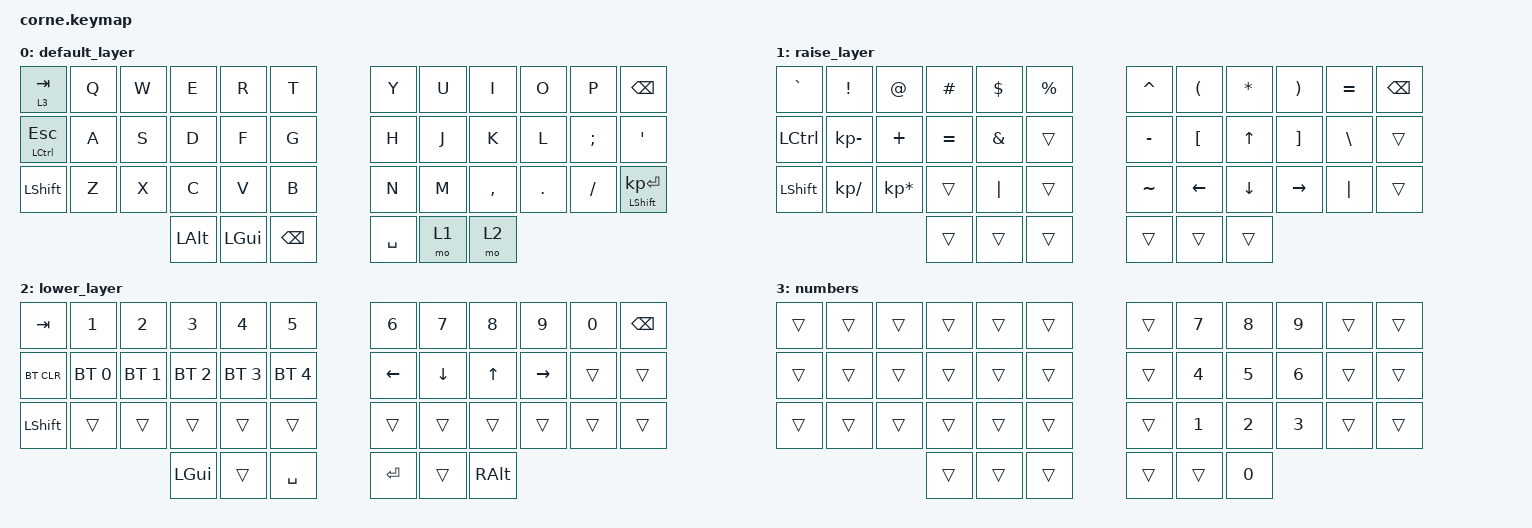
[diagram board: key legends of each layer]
/*
 * Copyright (c) 2020 The ZMK Contributors
 *
 * SPDX-License-Identifier: MIT
 */

#include <behaviors.dtsi>
#include <dt-bindings/zmk/bt.h>
#include <dt-bindings/zmk/keys.h>

/ {
    keymap {
        compatible = "zmk,keymap";

        default_layer {
            // -----------------------------------------------------------------------------------------
            // |  TAB |  Q  |  W  |  E  |  R  |  T  |   |  Y  |  U   |  I  |  O  |  P  | BSPC |
            // | CTRL |  A  |  S  |  D  |  F  |  G  |   |  H  |  J   |  K  |  L  |  ;  |  '   |
            // | SHFT |  Z  |  X  |  C  |  V  |  B  |   |  N  |  M   |  ,  |  .  |  /  | ESC  |
            //                    | GUI | LWR | SPC |   | ENT | RSE  | ALT |

            bindings = <
&lt 3 TAB      &kp Q  &kp W  &kp E         &kp R         &kp T            &kp Y      &kp U  &kp I      &kp O    &kp P     &kp BSPC
&mt LCTRL ESC  &kp A  &kp S  &kp D         &kp F         &kp G            &kp H      &kp J  &kp K      &kp L    &kp SEMI  &kp SQT
&kp LSHFT      &kp Z  &kp X  &kp C         &kp V         &kp B            &kp N      &kp M  &kp COMMA  &kp DOT  &kp FSLH  &mt LEFT_SHIFT KP_ENTER
                             &kp LEFT_ALT  &kp LEFT_GUI  &kp BACKSPACE    &kp SPACE  &mo 1  &mo 2
            >;
        };

        raise_layer {
            // -----------------------------------------------------------------------------------------
            // |  TAB |  !  |  @  |  #  |  $  |  %  |   |  ^  |  &  |  *  |  (  |  )  | BSPC |
            // | CTRL |     |     |     |     |     |   |  -  |  =  |  [  |  ]  |  \  |  `   |
            // | SHFT |     |     |     |     |     |   |  _  |  +  |  {  |  }  | "|" |  ~   |
            //                    | GUI |     | SPC |   | ENT |     | ALT |

            bindings = <
&kp GRAVE  &kp EXCL       &kp AT           &kp HASH   &kp DLLR       &kp PRCNT    &kp CARET  &kp LEFT_PARENTHESIS  &kp ASTRK       &kp RIGHT_PARENTHESIS  &kp EQUAL  &kp BSPC
&kp LCTRL  &kp KP_MINUS   &kp PLUS         &kp EQUAL  &kp AMPERSAND  &trans       &kp MINUS  &kp LEFT_BRACKET      &kp UP_ARROW    &kp RIGHT_BRACKET      &kp BSLH   &trans
&kp LSHFT  &kp KP_DIVIDE  &kp KP_MULTIPLY  &trans     &kp PIPE       &trans       &kp TILDE  &kp LEFT_ARROW        &kp DOWN_ARROW  &kp RIGHT_ARROW        &kp PIPE   &trans
                                           &trans     &trans         &trans       &trans     &trans                &trans
            >;
        };

        lower_layer {
            // -----------------------------------------------------------------------------------------
            // |  TAB |  1  |  2  |  3  |  4  |  5  |   |  6  |  7  |  8  |  9  |  0  | BSPC |
            // | BTCLR| BT1 | BT2 | BT3 | BT4 | BT5 |   | LFT | DWN |  UP | RGT |     |      |
            // | SHFT |     |     |     |     |     |   |     |     |     |     |     |      |
            //                    | GUI |     | SPC |   | ENT |     | ALT |

            bindings = <
&kp TAB     &kp N1        &kp N2        &kp N3        &kp N4        &kp N5          &kp N6    &kp N7    &kp N8    &kp N9     &kp N0  &kp BSPC
&bt BT_CLR  &bt BT_SEL 0  &bt BT_SEL 1  &bt BT_SEL 2  &bt BT_SEL 3  &bt BT_SEL 4    &kp LEFT  &kp DOWN  &kp UP    &kp RIGHT  &trans  &trans
&kp LSHFT   &trans        &trans        &trans        &trans        &trans          &trans    &trans    &trans    &trans     &trans  &trans
                                        &kp LGUI      &trans        &kp SPACE       &kp RET   &trans    &kp RALT
            >;
        };

        numbers {
            bindings = <
&trans  &trans  &trans  &trans  &trans  &trans    &trans  &kp N7        &kp N8        &kp N9        &trans  &trans
&trans  &trans  &trans  &trans  &trans  &trans    &trans  &kp NUMBER_4  &kp N5        &kp NUMBER_6  &trans  &trans
&trans  &trans  &trans  &trans  &trans  &trans    &trans  &kp NUMBER_1  &kp NUMBER_2  &kp N3        &trans  &trans
                        &trans  &trans  &trans    &trans  &trans        &kp N0
            >;
        };
    };
};
